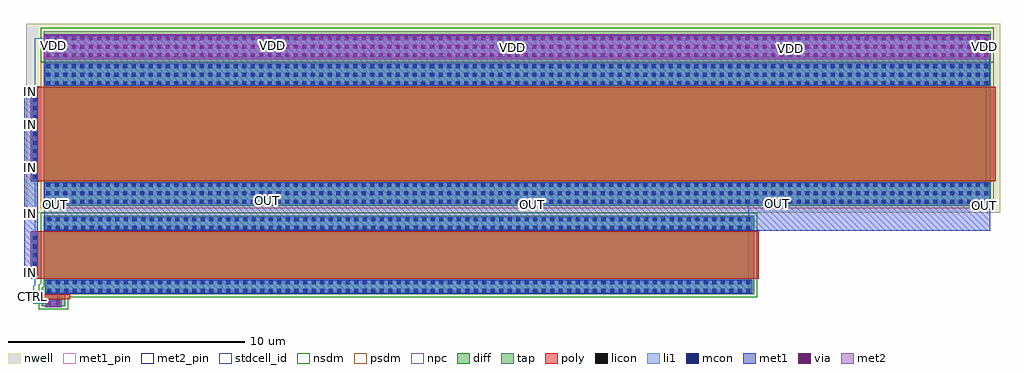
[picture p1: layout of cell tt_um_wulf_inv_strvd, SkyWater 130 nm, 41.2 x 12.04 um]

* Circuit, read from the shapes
.subckt tt_um_wulf_inv_strvd CTRL IN OUT VDD VSS
XM1 n1 CTRL VSS VSUBS sky130_fd_pr__nfet_01v8 w=1 l=0.2
XM2 OUT IN n1 VSUBS sky130_fd_pr__nfet_01v8 w=30 l=2
XM3 VDD IN OUT VDD sky130_fd_pr__pfet_01v8 w=40 l=4
.ends

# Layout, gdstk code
from math import pi, radians
import gdstk
lib = gdstk.Library(unit=1e-6, precision=1e-09)
def R(c, l, rs):  # rectangles x0, y0, x1, y1
    for r in rs: c.add(gdstk.rectangle(r[:2], r[2:], *l))
def A(c, l, x, y, w, h, nx, ny, dx, dy):  # array of equal rectangles
    R(c, l, [(x+i*dx, y+j*dy, x+i*dx+w, y+j*dy+h) for i in range(nx) for j in range(ny)])
def P(c, l, *ps):  # polygons
    for p in ps: c.add(gdstk.Polygon(p, *l))
nwell = (64, 20)
diff = (65, 20)
tap = (65, 44)
poly = (66, 20)
licon = (66, 44)
li1 = (67, 20)
mcon = (67, 44)
met1_pin = (68, 16)
met1 = (68, 20)
via = (68, 44)
met2_pin = (69, 16)
met2 = (69, 20)
stdcell_id = (81, 4)
nsdm = (93, 44)
psdm = (94, 20)
npc = (95, 20)

tt_um_wulf_nfet_1v8_40p0 = lib.new_cell('tt_um_wulf_nfet_1v8_40p0_1p0')
R(tt_um_wulf_nfet_1v8_40p0, diff, [(0.125,0.2,3.445,30.2)])
R(tt_um_wulf_nfet_1v8_40p0, poly, [(0.785,0,2.785,30.4), (0.785,30.4,2.785,30.73)])
A(tt_um_wulf_nfet_1v8_40p0, licon, 0.19, 0.355, 0.17, 0.17, 1, 83, 0, 0.36)
A(tt_um_wulf_nfet_1v8_40p0, licon, 0.55, 0.355, 0.17, 0.17, 1, 83, 0, 0.36)
A(tt_um_wulf_nfet_1v8_40p0, licon, 2.85, 0.355, 0.17, 0.17, 1, 83, 0, 0.36)
A(tt_um_wulf_nfet_1v8_40p0, licon, 3.21, 0.355, 0.17, 0.17, 1, 83, 0, 0.36)
A(tt_um_wulf_nfet_1v8_40p0, licon, 0.98, 30.48, 0.17, 0.17, 5, 1, 0.36, 0)
R(tt_um_wulf_nfet_1v8_40p0, li1, [(0.19,0.275,0.72,30.125), (2.85,0.275,3.38,30.125), (0.9,30.48,2.67,30.65)])
A(tt_um_wulf_nfet_1v8_40p0, mcon, 0.19, 0.355, 0.17, 0.17, 1, 83, 0, 0.36)
A(tt_um_wulf_nfet_1v8_40p0, mcon, 0.55, 0.355, 0.17, 0.17, 1, 83, 0, 0.36)
A(tt_um_wulf_nfet_1v8_40p0, mcon, 2.85, 0.355, 0.17, 0.17, 1, 83, 0, 0.36)
A(tt_um_wulf_nfet_1v8_40p0, mcon, 3.21, 0.355, 0.17, 0.17, 1, 83, 0, 0.36)
A(tt_um_wulf_nfet_1v8_40p0, mcon, 0.98, 30.48, 0.17, 0.17, 5, 1, 0.36, 0)
R(tt_um_wulf_nfet_1v8_40p0, met1, [(0.16,0.275,0.75,30.125), (2.82,0.295,3.41,30.105), (0.92,30.45,2.65,30.68)])
R(tt_um_wulf_nfet_1v8_40p0, nsdm, [(0,0.075,3.57,30.325)])
R(tt_um_wulf_nfet_1v8_40p0, npc, [(0.775,30.39,2.795,30.74)])

tt_um_wulf_pfet_1v8_40p0 = lib.new_cell('tt_um_wulf_pfet_1v8_40p0_4p0')
R(tt_um_wulf_pfet_1v8_40p0, nwell, [(0,0,7.975,41.1)])
R(tt_um_wulf_pfet_1v8_40p0, diff, [(0.305,0.38,6.345,40.38)])
R(tt_um_wulf_pfet_1v8_40p0, tap, [(6.345,0.38,7.67,40.38)])
R(tt_um_wulf_pfet_1v8_40p0, poly, [(1.325,0.18,5.325,40.58), (1.325,40.58,5.325,40.91)])
A(tt_um_wulf_pfet_1v8_40p0, licon, 0.37, 0.495, 0.17, 0.17, 3, 111, 0.36, 0.36)
A(tt_um_wulf_pfet_1v8_40p0, licon, 5.39, 0.495, 0.17, 0.17, 3, 111, 0.36, 0.36)
A(tt_um_wulf_pfet_1v8_40p0, licon, 6.565, 0.495, 0.17, 0.17, 3, 111, 0.36, 0.36)
A(tt_um_wulf_pfet_1v8_40p0, licon, 1.44, 40.66, 0.17, 0.17, 11, 1, 0.36, 0)
R(tt_um_wulf_pfet_1v8_40p0, li1, [(0.37,0.415,1.26,40.345), (5.39,0.415,6.28,40.345), (6.565,0.415,7.455,40.345), (1.36,40.66,5.29,40.83)])
A(tt_um_wulf_pfet_1v8_40p0, mcon, 0.37, 0.495, 0.17, 0.17, 3, 111, 0.36, 0.36)
A(tt_um_wulf_pfet_1v8_40p0, mcon, 5.39, 0.495, 0.17, 0.17, 3, 111, 0.36, 0.36)
A(tt_um_wulf_pfet_1v8_40p0, mcon, 1.44, 40.66, 0.17, 0.17, 11, 1, 0.36, 0)
R(tt_um_wulf_pfet_1v8_40p0, met1, [(5.36,0.435,6.31,40.325), (1.38,40.63,5.27,40.86)])
P(tt_um_wulf_pfet_1v8_40p0, met1, [(0.34,0.415),(0.34,40.345),(0.685,40.345),(1.29,40.345),(1.29,0.415)])
R(tt_um_wulf_pfet_1v8_40p0, nsdm, [(6.345,0.255,7.8,40.505)])
R(tt_um_wulf_pfet_1v8_40p0, psdm, [(0.18,0.255,6.345,40.505)])
R(tt_um_wulf_pfet_1v8_40p0, npc, [(1.315,40.57,5.335,40.92)])

tt_um_wulf_nfet_1v8_1p0_ = lib.new_cell('tt_um_wulf_nfet_1v8_1p0_0p2')
R(tt_um_wulf_nfet_1v8_1p0_, diff, [(0.125,0.2,0.925,1.2)])
R(tt_um_wulf_nfet_1v8_1p0_, poly, [(0.425,0,0.625,1.4), (0.39,1.4,0.66,1.73)])
R(tt_um_wulf_nfet_1v8_1p0_, licon, [(0.19,0.435,0.36,0.605), (0.69,0.435,0.86,0.605), (0.19,0.795,0.36,0.965), (0.69,0.795,0.86,0.965), (0.44,1.48,0.61,1.65)])
R(tt_um_wulf_nfet_1v8_1p0_, li1, [(0.19,0.355,0.36,1.045), (0.69,0.355,0.86,1.045), (0.36,1.48,0.69,1.65)])
R(tt_um_wulf_nfet_1v8_1p0_, mcon, [(0.19,0.435,0.36,0.605), (0.69,0.435,0.86,0.605), (0.19,0.795,0.36,0.965), (0.69,0.795,0.86,0.965), (0.44,1.48,0.61,1.65)])
R(tt_um_wulf_nfet_1v8_1p0_, met1, [(0.16,0.375,0.39,1.025), (0.66,0.375,0.89,1.025), (0.34,1.45,0.71,1.68)])
R(tt_um_wulf_nfet_1v8_1p0_, nsdm, [(0,0.075,1.05,1.325)])
R(tt_um_wulf_nfet_1v8_1p0_, npc, [(0.38,1.39,0.67,1.74)])

tt_um_wulf_inv_strvd = lib.new_cell('tt_um_wulf_inv_strvd')
A(tt_um_wulf_inv_strvd, mcon, 0.94, 11.545, 0.17, 0.17, 111, 3, 0.36, 0.36)
R(tt_um_wulf_inv_strvd, met1_pin, [(0.265,1.25,0.495,1.62), (0,2.33,0.575,10.25), (0.86,4.23,40.79,6.27)])
R(tt_um_wulf_inv_strvd, met1, [(0.905,0.98,1.585,1.3), (0,2.33,0.575,10.25), (0,2.33,0.575,10.25), (0.345,4.06,0.575,6.36), (0.86,4.23,40.79,6.27), (0.86,4.23,40.79,6.27), (0.88,11.29,40.77,12.48), (0.86,11.545,0.88,12.48), (40.77,11.545,40.79,12.48)])
A(tt_um_wulf_inv_strvd, via, 0.95, 11.555, 0.15, 0.15, 111, 3, 0.36, 0.36)
R(tt_um_wulf_inv_strvd, via, [(0.99,1.065,1.14,1.215), (1.35,1.065,1.5,1.215)])
R(tt_um_wulf_inv_strvd, met2_pin, [(0.905,0.98,1.585,1.3), (0.865,11.47,40.785,12.51)])
R(tt_um_wulf_inv_strvd, met2, [(0.905,0.98,1.585,1.3), (0.865,11.47,40.785,12.51)])
R(tt_um_wulf_inv_strvd, stdcell_id, [(0.401,1.145,1.445,1.897), (0.46,1.687,30.6,5.42), (0.46,5.42,40.63,12.35)])
tt_um_wulf_inv_strvd.add(gdstk.Reference(tt_um_wulf_nfet_1v8_40p0, (31.025,1.41), rotation=pi/2))
tt_um_wulf_inv_strvd.add(gdstk.Reference(tt_um_wulf_pfet_1v8_40p0, (41.205,4.98), rotation=pi/2))
tt_um_wulf_inv_strvd.add(gdstk.Reference(tt_um_wulf_nfet_1v8_1p0_, (1.945,0.91), rotation=pi/2))
tt_um_wulf_inv_strvd.add(gdstk.Label('CTRL', (0.374,1.433), layer=68, texttype=5))
tt_um_wulf_inv_strvd.add(gdstk.Label('OUT', (40.57,5.265), layer=68, texttype=5))
tt_um_wulf_inv_strvd.add(gdstk.Label('OUT', (1.33,5.335), layer=68, texttype=5))
tt_um_wulf_inv_strvd.add(gdstk.Label('OUT', (21.48,5.325), layer=68, texttype=5))
tt_um_wulf_inv_strvd.add(gdstk.Label('OUT', (31.815,5.36), layer=68, texttype=5))
tt_um_wulf_inv_strvd.add(gdstk.Label('OUT', (10.27,5.505), layer=68, texttype=5))
tt_um_wulf_inv_strvd.add(gdstk.Label('IN', (0.28,10.09), layer=68, texttype=5))
tt_um_wulf_inv_strvd.add(gdstk.Label('IN', (0.275,2.455), layer=68, texttype=5))
tt_um_wulf_inv_strvd.add(gdstk.Label('IN', (0.28,6.89), layer=68, texttype=5))
tt_um_wulf_inv_strvd.add(gdstk.Label('IN', (0.28,8.725), layer=68, texttype=5))
tt_um_wulf_inv_strvd.add(gdstk.Label('IN', (0.29,4.96), layer=68, texttype=5))
tt_um_wulf_inv_strvd.add(gdstk.Label('VSS', (1.24,1.135), layer=69, texttype=5))
tt_um_wulf_inv_strvd.add(gdstk.Label('VDD', (1.225,12.02), layer=69, texttype=5))
tt_um_wulf_inv_strvd.add(gdstk.Label('VDD', (40.56,12.005), layer=69, texttype=5))
tt_um_wulf_inv_strvd.add(gdstk.Label('VDD', (20.635,11.975), layer=69, texttype=5))
tt_um_wulf_inv_strvd.add(gdstk.Label('VDD', (32.35,11.935), layer=69, texttype=5))
tt_um_wulf_inv_strvd.add(gdstk.Label('VDD', (10.51,12.04), layer=69, texttype=5))

lib.write_gds('tt_um_wulf_inv_strvd.gds')
